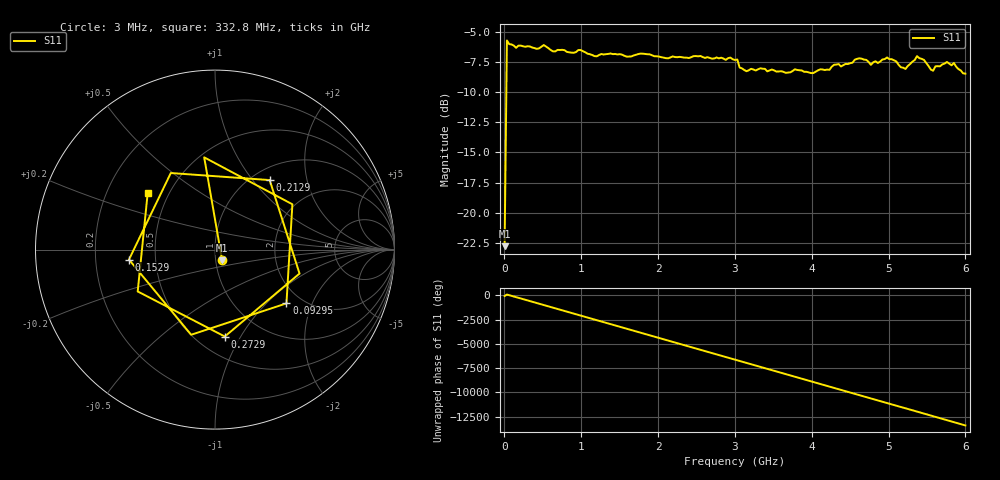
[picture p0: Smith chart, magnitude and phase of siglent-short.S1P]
! C:\data\Siglent F603FE cal kit tests\avg 16 100hz ifbw\siglent short.S1P
! Touchstone 1.1 file saved by VNA.EXE V1.60 (www.ke5fx.com/gpib/readme.htm)
! 26/07/2020 12:28:16 p.m.
!  Source: HEWLETT PACKARD,8753C,0,4.12
!  Min freq: 3.000000E+006 Hz
!  Max freq: 6.000000E+009 Hz
!  Points: 201
!  Params: S11
# GHZ S DB R 50
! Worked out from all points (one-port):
!   201 points, 3 MHz to 6 GHz, reference 50 ohm
!   lowest |S11| = -22.8 dB at 3 MHz (marker M1), VSWR 1.16, Z = 53.8 - j6.55 ohm
!   |S11| at or under -10 dB: start of sweep to 25.46 MHz
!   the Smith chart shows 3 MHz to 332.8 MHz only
!   S11 on the Smith chart (normalised r, x): 3 MHz: 1.08, -0.13; 92.95 MHz: 1.66, -1.33; 152.9 MHz: 0.35, -0.05; 212.9 MHz: 1.20, +1.22; 272.9 MHz: 0.68, -0.86; 332.8 MHz: 0.38, +0.31
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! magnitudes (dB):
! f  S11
! 3 MHz  -22.8
! 32.98 MHz  -5.7
! 92.95 MHz  -6.1
! 152.9 MHz  -6.3
! 212.9 MHz  -6.1
! 272.9 MHz  -6.2
! 332.8 MHz  -6.2
! 752.6 MHz  -6.5
! 992.5 MHz  -6.5
! 1.202 GHz  -7.0
! 1.502 GHz  -6.9
! 2.252 GHz  -7.1
! 3.002 GHz  -7.3
! 3.061 GHz  -8.0
! 3.151 GHz  -8.3
! 3.751 GHz  -8.3
! 4.021 GHz  -8.4
! 4.501 GHz  -7.6
! 4.621 GHz  -7.2
! 4.771 GHz  -7.7
! 4.981 GHz  -7.1
! 5.16 GHz  -7.9
! 5.25 GHz  -7.8
! 5.37 GHz  -7.0
! 5.58 GHz  -8.2
! 5.76 GHz  -7.5
! 5.85 GHz  -7.6
! 6 GHz  -8.5
